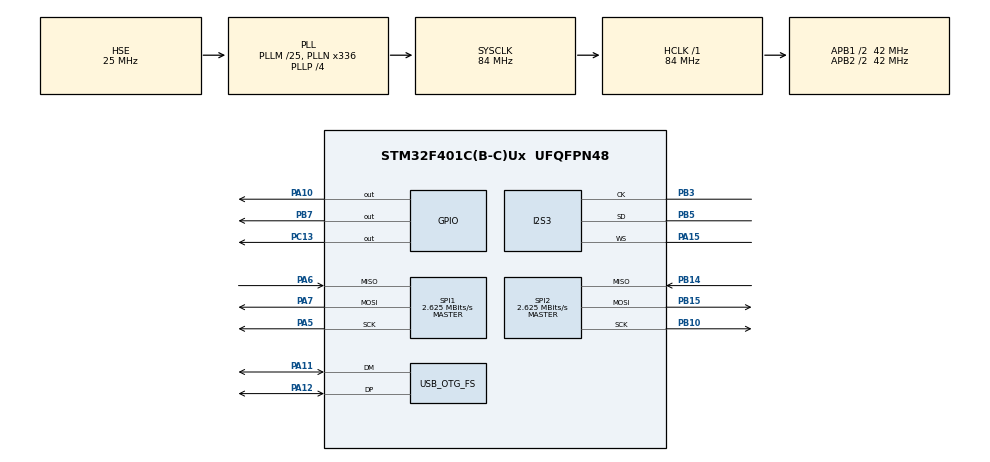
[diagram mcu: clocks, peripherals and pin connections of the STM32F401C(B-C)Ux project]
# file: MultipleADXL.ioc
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Dma.Request0=SPI3_RX
Dma.SPI3_RX.0.Direction=DMA_PERIPH_TO_MEMORY
Dma.SPI3_RX.0.FIFOMode=DMA_FIFOMODE_DISABLE
Dma.SPI3_RX.0.Instance=DMA1_Stream0
Dma.SPI3_RX.0.MemDataAlignment=DMA_MDATAALIGN_HALFWORD
Dma.SPI3_RX.0.MemInc=DMA_MINC_ENABLE
Dma.SPI3_RX.0.Mode=DMA_CIRCULAR
Dma.SPI3_RX.0.PeriphDataAlignment=DMA_PDATAALIGN_HALFWORD
Dma.SPI3_RX.0.PeriphInc=DMA_PINC_DISABLE
Dma.SPI3_RX.0.Priority=DMA_PRIORITY_HIGH
I2S3.AudioFreq=I2S_AUDIOFREQ_48K
I2S3.CPOL=I2S_CPOL_LOW
I2S3.DataFormat=I2S_DATAFORMAT_16B
I2S3.ErrorAudioFreq=0.27 %
I2S3.FullDuplexMode=I2S_FULLDUPLEXMODE_DISABLE
I2S3.Instance=SPI$Index
I2S3.Mode=I2S_MODE_MASTER_RX
I2S3.RealAudioFreq=48.13 KHz
I2S3.VirtualMode=I2S_MODE_MASTER
Mcu.Family=STM32F4
Mcu.Name=STM32F401C(B-C)Ux
Mcu.Package=UFQFPN48
NVIC.DMA1_Stream0_IRQn=true\:0\:0\:false\:false\:true\:false\:true\:true
NVIC.OTG_FS_IRQn=true\:0\:0\:false\:false\:true\:false\:true\:true
NVIC.PriorityGroup=NVIC_PRIORITYGROUP_4
NVIC.SPI3_IRQn=true\:0\:0\:false\:false\:true\:true\:true\:true
NVIC.TIM3_IRQn=true\:0\:0\:false\:false\:true\:true\:true\:true
PA10.GPIO_PuPd=GPIO_NOPULL
PA10.GPIO_Speed=GPIO_SPEED_FREQ_VERY_HIGH
PA10.PinState=GPIO_PIN_SET
PA10.Signal=GPIO_Output
PA11.Mode=Device_Only
PA11.Signal=USB_OTG_FS_DM
PA12.Mode=Device_Only
PA12.Signal=USB_OTG_FS_DP
PA15.GPIO_Speed=GPIO_SPEED_FREQ_VERY_HIGH
PA15.Mode=Half_Duplex_Master
PA15.Signal=I2S3_WS
PA5.Mode=Full_Duplex_Master
PA5.Signal=SPI1_SCK
PA6.Mode=Full_Duplex_Master
PA6.Signal=SPI1_MISO
PA7.Mode=Full_Duplex_Master
PA7.Signal=SPI1_MOSI
PB10.Mode=Full_Duplex_Master
PB10.Signal=SPI2_SCK
PB14.Mode=Full_Duplex_Master
PB14.Signal=SPI2_MISO
PB15.Mode=Full_Duplex_Master
PB15.Signal=SPI2_MOSI
PB3.GPIO_Speed=GPIO_SPEED_FREQ_VERY_HIGH
PB3.Mode=Half_Duplex_Master
PB3.Signal=I2S3_CK
PB5.GPIO_PuPd=GPIO_NOPULL
PB5.GPIO_Speed=GPIO_SPEED_FREQ_VERY_HIGH
PB5.Mode=Half_Duplex_Master
PB5.Signal=I2S3_SD
PB7.Signal=GPIO_Output
PC13-ANTI_TAMP.Signal=GPIO_Output
PH0\ -\ OSC_IN.Mode=HSE-External-Oscillator
PH0\ -\ OSC_IN.Signal=RCC_OSC_IN
PH1\ -\ OSC_OUT.Mode=HSE-External-Oscillator
PH1\ -\ OSC_OUT.Signal=RCC_OSC_OUT
ProjectManager.HeapSize=0x200
ProjectManager.StackSize=0x400
ProjectManager.TargetToolchain=STM32CubeIDE
RCC.48MHZClocksFreq_Value=48000000
RCC.AHBFreq_Value=84000000
RCC.APB1CLKDivider=RCC_HCLK_DIV2
RCC.APB1Freq_Value=42000000
RCC.APB1TimFreq_Value=84000000
RCC.APB2CLKDivider=RCC_HCLK_DIV2
RCC.APB2Freq_Value=42000000
RCC.APB2TimFreq_Value=84000000
RCC.CortexFreq_Value=84000000
RCC.HCLKFreq_Value=84000000
RCC.HSE_VALUE=25000000
RCC.HSI_VALUE=16000000
RCC.LSE_VALUE=32768
RCC.PLLI2SN=345
RCC.PLLM=25
RCC.PLLN=336
RCC.PLLP=RCC_PLLP_DIV4
RCC.PLLQ=7
RCC.SYSCLKFreq_VALUE=84000000
RCC.SYSCLKSource=RCC_SYSCLKSOURCE_PLLCLK
RCC.VCOOutputFreq_Value=336000000
SPI1.BaudRatePrescaler=SPI_BAUDRATEPRESCALER_16
SPI1.CLKPhase=SPI_PHASE_2EDGE
SPI1.CLKPolarity=SPI_POLARITY_HIGH
SPI1.CalculateBaudRate=2.625 MBits/s
SPI1.Direction=SPI_DIRECTION_2LINES
SPI1.Mode=SPI_MODE_MASTER
SPI1.VirtualType=VM_MASTER
SPI2.BaudRatePrescaler=SPI_BAUDRATEPRESCALER_16
SPI2.CLKPhase=SPI_PHASE_2EDGE
SPI2.CLKPolarity=SPI_POLARITY_HIGH
SPI2.CalculateBaudRate=2.625 MBits/s
SPI2.Direction=SPI_DIRECTION_2LINES
SPI2.Mode=SPI_MODE_MASTER
SPI2.VirtualType=VM_MASTER
STMicroelectronics.X-CUBE-ALGOBUILD.1.4.0.LibraryCcDSPOoLibraryJjDSPOoLibrary=true
TIM3.Period=155
TIM3.Prescaler=83
USB_DEVICE.CLASS_NAME_FS=CDC
USB_DEVICE.VirtualMode=Cdc
USB_DEVICE.VirtualModeFS=Cdc_FS
USB_OTG_FS.VirtualMode=Device_Only
VP_STMicroelectronics.X-CUBE-ALGOBUILD_VS_DSPOoLibraryJjLibrary_1.4.0_1.4.0.Mode=DSPOoLibraryJjLibrary
VP_TIM3_VS_ClockSourceINT.Mode=Internal
VP_USB_DEVICE_VS_USB_DEVICE_CDC_FS.Mode=CDC_FS
board=custom

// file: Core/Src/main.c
/* USER CODE BEGIN Header */
/**
  ******************************************************************************
  * @file           : main.c
  * @brief          : Main program body
  ******************************************************************************
  * @attention
  *
  * Copyright (c) 2025 STMicroelectronics.
  * All rights reserved.
  *
  * This software is licensed under terms that can be found in the LICENSE file
  * in the root directory of this software component.
  * If no LICENSE file comes with this software, it is provided AS-IS.
  *
  ******************************************************************************
  */
/* USER CODE END Header */
#include "main.h"
#include "usb_device.h"

/* USER CODE BEGIN Includes */
#include "adxl345_spi.h"
#include "stm32f401xc.h"
#include "arm_math.h"
#include "usbd_cdc_if.h"
#include "usb_device.h"

/* USER CODE END Includes */

/* USER CODE BEGIN PTD */

#define UART_BUFFER_SIZE 10

struct BTstruct{
	char receivecomplete;
	uint8_t receiveBufferchar;
	uint8_t receivebufferindex;
	uint8_t receiveBuffer[UART_BUFFER_SIZE];
	uint8_t cmd[UART_BUFFER_SIZE];
	uint32_t timeout_us;
	uint32_t priortime_us;
	uint32_t timeout_count;

} ;
/* USER CODE END PTD */

/* USER CODE BEGIN PD */
#define  ICS_BUFFER_RAW   ( 4*1024)
#define  ICS_BUFFER 	  (ICS_BUFFER_RAW / 2)
#define  ICS_BUFFER_FFT   (ICS_BUFFER / 2 + 1)
/* USER CODE END PD */

I2S_HandleTypeDef hi2s3;
DMA_HandleTypeDef hdma_spi3_rx;

SPI_HandleTypeDef hspi1;
SPI_HandleTypeDef hspi2;

TIM_HandleTypeDef htim3;

/* USER CODE BEGIN PV */

uint8_t cmdbuf[4];
uint8_t stop_flag;
uint16_t i2s_buffercount = 0;

arm_status status;

static float32_t fft_input_buffer[ICS_BUFFER];
float32_t fft_output_buffer[ICS_BUFFER];// Реальный и мнимый — чередуются
arm_rfft_fast_instance_f32 fft_instance;

//static float32_t fft_input_buffer_out[ICS_BUFFER];

struct BTstruct BTUART;

int16_t i2s_buf[ICS_BUFFER_RAW];
//int16_t buf2[ICS_BUFFER];
static float32_t fft_result[ICS_BUFFER_FFT];

float ics_freq;

//adxl345_ic_t adxl345spi1;
//adxl345_ic_t adxl345spi2;
uint32_t adxl345_selector;

float adxl_freq ;
float b2zdata[2*ADXL345DATA_DATALENGTH];
HAL_StatusTypeDef  rdma;
/* USER CODE END PV */

void SystemClock_Config(void);
static void MX_GPIO_Init(void);
static void MX_DMA_Init(void);
static void MX_SPI1_Init(void);
static void MX_SPI2_Init(void);
static void MX_TIM3_Init(void);
static void MX_I2S3_Init(void);
/* USER CODE BEGIN PFP */
extern uint8_t CDC_Transmit_FS(uint8_t* Buf, uint16_t Len);
extern USBD_HandleTypeDef hUsbDeviceFS;
/* USER CODE END PFP */

/* USER CODE BEGIN 0 */

void HAL_TIM_PeriodElapsedCallback(TIM_HandleTypeDef *htim)
{
    if (htim->Instance == TIM3)
    {
    //   if (adxl345_selector%2==0) {ADXL345_ReadXYZ(&adxl345spi1);};
    //   if (adxl345_selector%2==1) {ADXL345_ReadXYZ(&adxl345spi2);};

       adxl345_selector++;
    }
}

void HAL_I2S_RxCpltCallback(I2S_HandleTypeDef *hi2s){

//	for (int i = 0; i < ICS_BUFFER_RAW; i += 2) {
//	  buf2[i / 2]=i2s_buf[i];
//	};
	i2s_buffercount++;

}

float ICS43434_FFT2(int16_t *in_buf,float fs)  {

    // Указатели на буферы
    static float32_t fft_input_buffer[ICS_BUFFER];
    float32_t fft_output_buffer[ICS_BUFFER];// Реальный и мнимый — чередуются

    // Инициализация FFT
    arm_rfft_fast_instance_f32 fft_instance;
    arm_status status;

    // Преобразуем uint16_t -> float32_t, вычитаем offsetz
    for (int i = 0; i < ICS_BUFFER; i++) {
        fft_input_buffer[i] = (float32_t)(in_buf[i]);
   //     fft_input_buffer_out[i] = (float32_t)(in_buf[i]);
      // 	fft_input_buffer[i] = (float32_t)(sin(20.0*(float)i/(float)(ICS_BUFFER)*2.0*3.14159));
    }

    // Инициализация RFFT (для вещественного входа)
    status = arm_rfft_fast_init_f32(&fft_instance, ICS_BUFFER);
    if (status != ARM_MATH_SUCCESS) {
        return 0; // Ошибка инициализации
    }

    // Выполнение прямого FFT
    arm_rfft_fast_f32(&fft_instance, fft_input_buffer, fft_output_buffer, 0); // 0 = прямое преобразование

    // Вычисление магнитуд
    // Для RFFT результат — комплексный вектор длины fft_size, но симметричный
    // Нам нужны только первые (length/2 + 1) точек (от 0 до Nyquist)
    arm_cmplx_mag_f32(fft_output_buffer,fft_result, ICS_BUFFER_FFT);

    // Опционально: нормализация (деление на длину)
    arm_scale_f32(fft_result, 1.0f / ICS_BUFFER, fft_result, ICS_BUFFER_FFT);

    float loc_main_freq = 0;

    float max_val = fft_result[1];
    for (int i = 2; i <  ICS_BUFFER_FFT  ; i++) {
      if (fft_result[i]  > max_val) {
    	max_val = fft_result[i];
    	loc_main_freq = i;
      }
    }

    loc_main_freq = (fs/2.0) * ((float)loc_main_freq / (float)ICS_BUFFER_FFT);

    return  loc_main_freq;
}

float ICS43434_FFT()  {

    // Указатели на буферы

    float fs = (float)hi2s3.Init.AudioFreq;

    // Инициализация FFT

    int j = 0;
    float32_t raw = 0;
    for (int i = 0; i < ICS_BUFFER; i++) {
        raw = (float32_t )i2s_buf[j];
    	fft_input_buffer[i]= raw;
   // 	fft_input_buffer_out[i]= raw;
    	j++;
    	j++;
    };

    // Выполнение прямого FFT
    arm_rfft_fast_f32(&fft_instance, fft_input_buffer, fft_output_buffer, 0); // 0 = прямое преобразование

    // Вычисление магнитуд
    // Для RFFT результат — комплексный вектор длины fft_size, но симметричный
    // Нам нужны только первые (length/2 + 1) точек (от 0 до Nyquist)
    arm_cmplx_mag_f32(fft_output_buffer,fft_result, ICS_BUFFER_FFT);

    // Опционально: нормализация (деление на длину)
    arm_scale_f32(fft_result, 1.0f / ICS_BUFFER, fft_result, ICS_BUFFER_FFT);

    float loc_main_freq = 0;

    float max_val = fft_result[1];
    for (int i = 2; i <  ICS_BUFFER_FFT  ; i++) {
      if (fft_result[i]  > max_val) {
    	max_val = fft_result[i];
    	loc_main_freq = i;
      }
    }

    loc_main_freq = (fs/2.0) * ((float)loc_main_freq / (float)ICS_BUFFER_FFT);

    return  loc_main_freq;
}

void CDC_ReceiveCallBack(uint8_t *Buf, uint32_t *Len)
{
	if(hUsbDeviceFS.dev_state == USBD_STATE_CONFIGURED) {
		if ( (*Len>=4) && (Buf[3]==0x5A) ) {
			memcpy(cmdbuf, Buf, 4);
			Buf[3]=0;
		}
	}
}

void Buffer_Transmit(const uint8_t *pData, uint16_t Size_in_Bytes, uint16_t subPacketSize)
{

	uint16_t datalength =  Size_in_Bytes;
	uint8_t *tx_data = (uint8_t*)&datalength;

	CDC_Transmit_FS((uint8_t*)tx_data,2);

	//HAL_UART_Transmit(bthuart,  tx_data,	2, Timeout);
    HAL_Delay(1);

	uint16_t i=0;
	while (i<Size_in_Bytes) {
	   if ((i+subPacketSize)<Size_in_Bytes) {
		   datalength = subPacketSize;
	   } else {
		   datalength =  Size_in_Bytes - i;
	   }

	   CDC_Transmit_FS((uint8_t*) (pData+i),	 datalength );
	   i = i + datalength;
	   HAL_Delay(1);
	}
}

/* USER CODE END 0 */

int main(void)
{

  /* MCU Configuration--------------------------------------------------------*/

  /* Reset of all peripherals, Initializes the Flash interface and the Systick. */
  HAL_Init();

  /* Configure the system clock */
  SystemClock_Config();

  /* Initialize all configured peripherals */
  MX_GPIO_Init();
  MX_DMA_Init();
  MX_SPI1_Init();
  MX_SPI2_Init();
  MX_TIM3_Init();
  MX_I2S3_Init();
  MX_USB_DEVICE_Init();
  /* USER CODE BEGIN 2 */

//  adxl345spi1.dataindex = 0;
//  adxl345spi1.hspi = hspi1;
//  adxl345spi1.cs_port = GPIOA;
//  adxl345spi1.cs_pin = GPIO_PIN_10;
 // adxl345spi1.fft_samples = 3200;

 // adxl345spi2.dataindex = 0;
 // adxl345spi2.hspi = hspi2;
 // adxl345spi2.cs_port = GPIOB;
//  adxl345spi2.cs_pin = GPIO_PIN_7;
//  adxl345spi2.fft_samples = 3200;

//  ADXL345_Init_Calib(&adxl345spi1);
//  ADXL345_Init_Calib(&adxl345spi2);

  // Инициализация RFFT (для вещественного входа)
  status = arm_rfft_fast_init_f32(&fft_instance, ICS_BUFFER);
  if (status != ARM_MATH_SUCCESS) {
     while(1){;};; // Ошибка инициализации
  }

  stop_flag=0;

  HAL_TIM_Base_Start_IT(&htim3);
  rdma = HAL_I2S_Receive_DMA(&hi2s3, (uint16_t *) i2s_buf, ICS_BUFFER_RAW);
  //rdma = HAL_I2S_DMAPause(&hi2s3);

  /* USER CODE END 2 */

  /* Infinite loop */
  /* USER CODE BEGIN WHILE */
  while (1)
  {

	 // if (stop_flag==1) {
		//  HAL_TIM_Base_Stop_IT(&htim3);
		//  rdma = HAL_I2S_DMAPause(&hi2s3);

	 // }

	//  if (stop_flag==0) {
		//  HAL_TIM_Base_Start_IT(&htim3);
		//  HAL_I2S_DMAResume(&hi2s3);
		//  stop_flag=2;
	//  };

    //	for (int i = 0; i < ICS_BUFFER_RAW; i += 2) {  buf2[i / 2]=i2s_buf[i]+1; };
	  ics_freq = ICS43434_FFT();

	//  ADXL345_FFT(&adxl345spi1);
	//  ADXL345_FFT(&adxl345spi2);

	//    for (int i = 0; i < ADXL345DATA_DATALENGTH; i++) {
	 //   	b2zdata[2*i]     =  ((float)( adxl345spi1.zdata[i] - adxl345spi1.offsetz ))*adxl345spi1.scale;
	 //   	b2zdata[2*i+1] =  ((float)( adxl345spi2.zdata[i] - adxl345spi2.offsetz ))*adxl345spi2.scale;
	 //   }

	 //  adxl_freq = ADXL345_FFT_qwen(b2zdata,2*ADXL345DATA_DATALENGTH, 6400);

		  if((cmdbuf[0] == 'A') && (cmdbuf[3] == 'Z'))
		  {
			  cmdbuf[0] = 0;

		//	  Buffer_Transmit((uint8_t *)fft_input_buffer_out,4*ICS_BUFFER,4*ICS_BUFFER);
		  };

		  if((cmdbuf[0] == 'B') && (cmdbuf[3] == 'Z'))
		  {
			  cmdbuf[0] = 0;
			//  Buffer_Transmit((uint8_t *)buf2,2*ICS_BUFFER,500);
			  //Buffer_Transmit((uint8_t *)i2s_buf,2*ICS_BUFFER_RAW,500);
		//	  Buffer_Transmit((uint8_t *)fft_input_buffer_out,4*ICS_BUFFER,4*ICS_BUFFER);
		  };

		  if((cmdbuf[0] == 'C') && (cmdbuf[3] == 'Z'))
		  {
			  cmdbuf[0] = 0;
			  Buffer_Transmit((uint8_t *)fft_result,4*ICS_BUFFER_FFT,500);
		  };

		  if((cmdbuf[0] == 'D') && (cmdbuf[3] == 'Z'))
		  {
			  cmdbuf[0] = 0;
			  Buffer_Transmit((uint8_t *)b2zdata,2*2*ADXL345DATA_DATALENGTH,500);
		  };

		  if((cmdbuf[0] == 'E') && (cmdbuf[3] == 'Z'))
		  {
			  cmdbuf[0] = 0;
			stop_flag = 1;
		  };

		  if((cmdbuf[0] == 'F') && (cmdbuf[3] == 'Z'))
		  {
			  cmdbuf[0] = 0;
			stop_flag = 0;
		  };

		  if((cmdbuf[0] == 'G') && (cmdbuf[3] == 'Z'))
		  {
			  cmdbuf[0] = 0;
			   //Buffer_Transmit((uint8_t *)adxl345spi1.zdata,2*ADXL345DATA_DATALENGTH,500);
			   Buffer_Transmit((uint8_t *)i2s_buf,2*ICS_BUFFER_RAW,500);
		  };

    /* USER CODE END WHILE */

  }
}

void SystemClock_Config(void)
{
  RCC_OscInitTypeDef RCC_OscInitStruct = {0};
  RCC_ClkInitTypeDef RCC_ClkInitStruct = {0};

  /** Configure the main internal regulator output voltage
  */
  __HAL_RCC_PWR_CLK_ENABLE();
  __HAL_PWR_VOLTAGESCALING_CONFIG(PWR_REGULATOR_VOLTAGE_SCALE2);

  /** Initializes the RCC Oscillators according to the specified parameters
  * in the RCC_OscInitTypeDef structure.
  */
  RCC_OscInitStruct.OscillatorType = RCC_OSCILLATORTYPE_HSE;
  RCC_OscInitStruct.HSEState = RCC_HSE_ON;
  RCC_OscInitStruct.PLL.PLLState = RCC_PLL_ON;
  RCC_OscInitStruct.PLL.PLLSource = RCC_PLLSOURCE_HSE;
  RCC_OscInitStruct.PLL.PLLM = 25;
  RCC_OscInitStruct.PLL.PLLN = 336;
  RCC_OscInitStruct.PLL.PLLP = RCC_PLLP_DIV4;
  RCC_OscInitStruct.PLL.PLLQ = 7;
  if (HAL_RCC_OscConfig(&RCC_OscInitStruct) != HAL_OK)
  {
    Error_Handler();
  }

  /** Initializes the CPU, AHB and APB buses clocks
  */
  RCC_ClkInitStruct.ClockType = RCC_CLOCKTYPE_HCLK|RCC_CLOCKTYPE_SYSCLK
                              |RCC_CLOCKTYPE_PCLK1|RCC_CLOCKTYPE_PCLK2;
  RCC_ClkInitStruct.SYSCLKSource = RCC_SYSCLKSOURCE_PLLCLK;
  RCC_ClkInitStruct.AHBCLKDivider = RCC_SYSCLK_DIV1;
  RCC_ClkInitStruct.APB1CLKDivider = RCC_HCLK_DIV2;
  RCC_ClkInitStruct.APB2CLKDivider = RCC_HCLK_DIV2;

  if (HAL_RCC_ClockConfig(&RCC_ClkInitStruct, FLASH_LATENCY_2) != HAL_OK)
  {
    Error_Handler();
  }
}

static void MX_I2S3_Init(void)
{

  hi2s3.Instance = SPI3;
  hi2s3.Init.Mode = I2S_MODE_MASTER_RX;
  hi2s3.Init.Standard = I2S_STANDARD_PHILIPS;
  hi2s3.Init.DataFormat = I2S_DATAFORMAT_16B;
  hi2s3.Init.MCLKOutput = I2S_MCLKOUTPUT_DISABLE;
  hi2s3.Init.AudioFreq = I2S_AUDIOFREQ_48K;
  hi2s3.Init.CPOL = I2S_CPOL_LOW;
  hi2s3.Init.ClockSource = I2S_CLOCK_PLL;
  hi2s3.Init.FullDuplexMode = I2S_FULLDUPLEXMODE_DISABLE;
  if (HAL_I2S_Init(&hi2s3) != HAL_OK)
  {
    Error_Handler();
  }

}

static void MX_SPI1_Init(void)
{

  /* SPI1 parameter configuration*/
  hspi1.Instance = SPI1;
  hspi1.Init.Mode = SPI_MODE_MASTER;
  hspi1.Init.Direction = SPI_DIRECTION_2LINES;
  hspi1.Init.DataSize = SPI_DATASIZE_8BIT;
  hspi1.Init.CLKPolarity = SPI_POLARITY_HIGH;
  hspi1.Init.CLKPhase = SPI_PHASE_2EDGE;
  hspi1.Init.NSS = SPI_NSS_SOFT;
  hspi1.Init.BaudRatePrescaler = SPI_BAUDRATEPRESCALER_16;
  hspi1.Init.FirstBit = SPI_FIRSTBIT_MSB;
  hspi1.Init.TIMode = SPI_TIMODE_DISABLE;
  hspi1.Init.CRCCalculation = SPI_CRCCALCULATION_DISABLE;
  hspi1.Init.CRCPolynomial = 10;
  if (HAL_SPI_Init(&hspi1) != HAL_OK)
  {
    Error_Handler();
  }

}

static void MX_SPI2_Init(void)
{

  /* SPI2 parameter configuration*/
  hspi2.Instance = SPI2;
  hspi2.Init.Mode = SPI_MODE_MASTER;
  hspi2.Init.Direction = SPI_DIRECTION_2LINES;
  hspi2.Init.DataSize = SPI_DATASIZE_8BIT;
  hspi2.Init.CLKPolarity = SPI_POLARITY_HIGH;
  hspi2.Init.CLKPhase = SPI_PHASE_2EDGE;
  hspi2.Init.NSS = SPI_NSS_SOFT;
  hspi2.Init.BaudRatePrescaler = SPI_BAUDRATEPRESCALER_16;
  hspi2.Init.FirstBit = SPI_FIRSTBIT_MSB;
  hspi2.Init.TIMode = SPI_TIMODE_DISABLE;
  hspi2.Init.CRCCalculation = SPI_CRCCALCULATION_DISABLE;
  hspi2.Init.CRCPolynomial = 10;
  if (HAL_SPI_Init(&hspi2) != HAL_OK)
  {
    Error_Handler();
  }

}

static void MX_TIM3_Init(void)
{

  TIM_ClockConfigTypeDef sClockSourceConfig = {0};
  TIM_MasterConfigTypeDef sMasterConfig = {0};

  htim3.Instance = TIM3;
  htim3.Init.Prescaler = 83;
  htim3.Init.CounterMode = TIM_COUNTERMODE_UP;
  htim3.Init.Period = 155;
  htim3.Init.ClockDivision = TIM_CLOCKDIVISION_DIV1;
  htim3.Init.AutoReloadPreload = TIM_AUTORELOAD_PRELOAD_DISABLE;
  if (HAL_TIM_Base_Init(&htim3) != HAL_OK)
  {
    Error_Handler();
  }
  sClockSourceConfig.ClockSource = TIM_CLOCKSOURCE_INTERNAL;
  if (HAL_TIM_ConfigClockSource(&htim3, &sClockSourceConfig) != HAL_OK)
  {
    Error_Handler();
  }
  sMasterConfig.MasterOutputTrigger = TIM_TRGO_RESET;
  sMasterConfig.MasterSlaveMode = TIM_MASTERSLAVEMODE_DISABLE;
  if (HAL_TIMEx_MasterConfigSynchronization(&htim3, &sMasterConfig) != HAL_OK)
  {
    Error_Handler();
  }

}

static void MX_DMA_Init(void)
{

  /* DMA controller clock enable */
  __HAL_RCC_DMA1_CLK_ENABLE();

  /* DMA interrupt init */
  /* DMA1_Stream0_IRQn interrupt configuration */
  HAL_NVIC_SetPriority(DMA1_Stream0_IRQn, 0, 0);
  HAL_NVIC_EnableIRQ(DMA1_Stream0_IRQn);

}

static void MX_GPIO_Init(void)
{
  GPIO_InitTypeDef GPIO_InitStruct = {0};

  /* GPIO Ports Clock Enable */
  __HAL_RCC_GPIOC_CLK_ENABLE();
  __HAL_RCC_GPIOH_CLK_ENABLE();
  __HAL_RCC_GPIOA_CLK_ENABLE();
  __HAL_RCC_GPIOB_CLK_ENABLE();

  /*Configure GPIO pin Output Level */
  HAL_GPIO_WritePin(GPIOC, GPIO_PIN_13, GPIO_PIN_RESET);

  /*Configure GPIO pin Output Level */
  HAL_GPIO_WritePin(GPIOA, GPIO_PIN_10, GPIO_PIN_SET);

  /*Configure GPIO pin Output Level */
  HAL_GPIO_WritePin(GPIOB, GPIO_PIN_7, GPIO_PIN_RESET);

  /*Configure GPIO pin : PC13 */
  GPIO_InitStruct.Pin = GPIO_PIN_13;
  GPIO_InitStruct.Mode = GPIO_MODE_OUTPUT_PP;
  GPIO_InitStruct.Pull = GPIO_NOPULL;
  GPIO_InitStruct.Speed = GPIO_SPEED_FREQ_LOW;
  HAL_GPIO_Init(GPIOC, &GPIO_InitStruct);

  /*Configure GPIO pin : PA10 */
  GPIO_InitStruct.Pin = GPIO_PIN_10;
  GPIO_InitStruct.Mode = GPIO_MODE_OUTPUT_PP;
  GPIO_InitStruct.Pull = GPIO_NOPULL;
  GPIO_InitStruct.Speed = GPIO_SPEED_FREQ_VERY_HIGH;
  HAL_GPIO_Init(GPIOA, &GPIO_InitStruct);

  /*Configure GPIO pin : PB7 */
  GPIO_InitStruct.Pin = GPIO_PIN_7;
  GPIO_InitStruct.Mode = GPIO_MODE_OUTPUT_PP;
  GPIO_InitStruct.Pull = GPIO_NOPULL;
  GPIO_InitStruct.Speed = GPIO_SPEED_FREQ_LOW;
  HAL_GPIO_Init(GPIOB, &GPIO_InitStruct);

}

void Error_Handler(void)
{
  __disable_irq();
  while (1)
  {
  }
}
